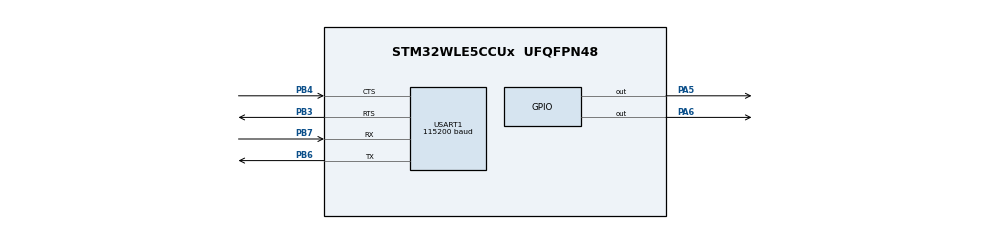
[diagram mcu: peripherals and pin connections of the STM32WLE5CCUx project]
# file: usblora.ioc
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FREERTOS.HEAP_NUMBER=1
FREERTOS.Queues01=SendLoraQueue,4,char *,0,Dynamic,NULL,NULL;SendUsbQueue,4,char *,0,Dynamic,NULL,NULL
FREERTOS.Tasks01=defaultTask,24,256,StartDefaultTask,Default,NULL,Dynamic,NULL,NULL;UsbTask,24,4096,StartUsbTask,Default,NULL,Dynamic,NULL,NULL;LoraTask,24,2048,StartLoraTask,Default,NULL,Dynamic,NULL,NULL
FREERTOS.configCHECK_FOR_STACK_OVERFLOW=1
FREERTOS.configTICK_RATE_HZ=1000
FREERTOS.configTOTAL_HEAP_SIZE=0x7000
FREERTOS.configUSE_APPLICATION_TASK_TAG=0
FREERTOS.configUSE_NEWLIB_REENTRANT=1
FREERTOS.configUSE_PREEMPTION=1
Mcu.Family=STM32WL
Mcu.Name=STM32WLE5CCUx
Mcu.Package=UFQFPN48
NVIC.HSEM_IRQn=true\:5\:0\:false\:false\:true\:true\:false\:true\:true
NVIC.PriorityGroup=NVIC_PRIORITYGROUP_4
NVIC.RCC_IRQn=true\:5\:0\:false\:false\:true\:true\:true\:false\:true
NVIC.SUBGHZ_Radio_IRQn=true\:5\:0\:false\:false\:true\:true\:true\:true\:true
NVIC.TIM1_UP_IRQn=true\:15\:0\:false\:false\:true\:false\:false\:true\:true
NVIC.TimeBase=TIM1_UP_IRQn
NVIC.TimeBaseIP=TIM1
NVIC.USART1_IRQn=true\:5\:0\:true\:false\:true\:true\:true\:true\:true
OSC_IN.Mode=HSE-External-Oscillator
OSC_IN.Signal=RCC_OSC_IN
OSC_OUT.Mode=HSE-External-Oscillator
OSC_OUT.Signal=RCC_OSC_OUT
PA5.Signal=GPIO_Output
PA6.Signal=GPIO_Output
PB3.Mode=CTS_RTS
PB3.Signal=USART1_RTS
PB4.Mode=CTS_RTS
PB4.Signal=USART1_CTS
PB6.Mode=Asynchronous
PB6.Signal=USART1_TX
PB7.Mode=Asynchronous
PB7.Signal=USART1_RX
ProjectManager.HeapSize=0x200
ProjectManager.StackSize=0x400
ProjectManager.TargetToolchain=STM32CubeIDE
RCC.AHBFreq_Value=48000000
RCC.APB1Freq_Value=48000000
RCC.APB1TimFreq_Value=48000000
RCC.APB2Freq_Value=48000000
RCC.APB2TimFreq_Value=48000000
RCC.APB3Freq_Value=48000000
RCC.CortexFreq_Value=48000000
RCC.FLatency=FLASH_LATENCY_2
RCC.HCLKFreq_Value=48000000
RCC.HSE_Timout=500
RCC.HSE_VALUE=32000000
RCC.HSI_VALUE=16000000
RCC.LSE_VALUE=32768
RCC.MSIClockRange=RCC_MSIRANGE_11
RCC.PLLSourceVirtual=RCC_PLLSOURCE_HSE
RCC.SYSCLKFreq_VALUE=48000000
RCC.VCOOutputFreq_Value=256000000
SUBGHZ.BaudratePrescaler=SUBGHZSPI_BAUDRATEPRESCALER_4
SUBGHZ_PHY.APP_LOG_ENABLED=false
SUBGHZ_PHY.IS_DCDC_SUPPORTED=false
SUBGHZ_PHY.SUBGHZ_APPLICATION=SUBGHZ_USER_APPLICATION
SUBGHZ_PHY.SUBGHZ_PHY_APP_MEM_POOL_SIZE=8192
SUBGHZ_PHY.TX_RFO_CONFIG=RBI_CONF_RFO_HP
USART1.BaudRate=115200
USART1.FIFOMode=FIFOMODE_ENABLE
USART1.Parity=PARITY_NONE
USART1.StopBits=STOPBITS_1
USART1.VirtualMode-Asynchronous=VM_ASYNC
VP_ADV_TRACE_VS_ADV_TRACE.Mode=ADV_TRACE_Enabled
VP_FREERTOS_VS_CMSIS_V2.Mode=CMSIS_V2
VP_HSEM_VS_HSEM.Mode=HSEM_Activate
VP_MISC_VS_MISC.Mode=MISC_Enabled
VP_SUBGHZ_PHY_VS_SubGhzPhy.Mode=SubGhzPhy_Enabled
VP_SUBGHZ_VS_SUBGHZ.Mode=SUBGHZ_Activate
VP_SYS_VS_tim1.Mode=TIM1
VP_TIMER_VS_TIMER.Mode=TIMER_Enabled
VP_TINY_LPM_VS_TINY_LPM.Mode=TINY_LPM_Enabled
board=custom

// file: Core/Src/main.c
/* USER CODE BEGIN Header */
/**
  ******************************************************************************
  * @file           : main.c
  * @brief          : Main program body
  ******************************************************************************
  * @attention
  *
  * Copyright (c) 2024 STMicroelectronics.
  * All rights reserved.
  *
  * This software is licensed under terms that can be found in the LICENSE file
  * in the root directory of this software component.
  * If no LICENSE file comes with this software, it is provided AS-IS.
  *
  ******************************************************************************
  */
/* USER CODE END Header */
#include "main.h"
#include "cmsis_os.h"
#include "app_subghz_phy.h"
#include "usart.h"
#include "gpio.h"

void SystemClock_Config(void);
void MX_FREERTOS_Init(void);

int main(void)
{

  /* MCU Configuration--------------------------------------------------------*/

  /* Reset of all peripherals, Initializes the Flash interface and the Systick. */
  HAL_Init();

  /* Configure the system clock */
  SystemClock_Config();

  /* Initialize all configured peripherals */
  MX_GPIO_Init();
  MX_USART1_UART_Init();

  /* Init scheduler */
  osKernelInitialize();

  /* Call init function for freertos objects (in cmsis_os2.c) */
  MX_FREERTOS_Init();

  /* Start scheduler */
  osKernelStart();

  /* We should never get here as control is now taken by the scheduler */

  /* Infinite loop */
  while (1)
  {

  }
}

void SystemClock_Config(void)
{
  RCC_OscInitTypeDef RCC_OscInitStruct = {0};
  RCC_ClkInitTypeDef RCC_ClkInitStruct = {0};

  /** Configure the main internal regulator output voltage
  */
  __HAL_PWR_VOLTAGESCALING_CONFIG(PWR_REGULATOR_VOLTAGE_SCALE1);

  /** Initializes the CPU, AHB and APB buses clocks
  */
  RCC_OscInitStruct.OscillatorType = RCC_OSCILLATORTYPE_MSI;
  RCC_OscInitStruct.MSIState = RCC_MSI_ON;
  RCC_OscInitStruct.MSICalibrationValue = RCC_MSICALIBRATION_DEFAULT;
  RCC_OscInitStruct.MSIClockRange = RCC_MSIRANGE_11;
  RCC_OscInitStruct.PLL.PLLState = RCC_PLL_NONE;
  if (HAL_RCC_OscConfig(&RCC_OscInitStruct) != HAL_OK)
  {
    Error_Handler();
  }

  /** Configure the SYSCLKSource, HCLK, PCLK1 and PCLK2 clocks dividers
  */
  RCC_ClkInitStruct.ClockType = RCC_CLOCKTYPE_HCLK3|RCC_CLOCKTYPE_HCLK
                              |RCC_CLOCKTYPE_SYSCLK|RCC_CLOCKTYPE_PCLK1
                              |RCC_CLOCKTYPE_PCLK2;
  RCC_ClkInitStruct.SYSCLKSource = RCC_SYSCLKSOURCE_MSI;
  RCC_ClkInitStruct.AHBCLKDivider = RCC_SYSCLK_DIV1;
  RCC_ClkInitStruct.APB1CLKDivider = RCC_HCLK_DIV1;
  RCC_ClkInitStruct.APB2CLKDivider = RCC_HCLK_DIV1;
  RCC_ClkInitStruct.AHBCLK3Divider = RCC_SYSCLK_DIV1;

  if (HAL_RCC_ClockConfig(&RCC_ClkInitStruct, FLASH_LATENCY_2) != HAL_OK)
  {
    Error_Handler();
  }
}

void HAL_TIM_PeriodElapsedCallback(TIM_HandleTypeDef *htim)
{
  if (htim->Instance == TIM1) {
    HAL_IncTick();
  }
}

void Error_Handler(void)
{
  __disable_irq();
  while (1)
  {
  }
}

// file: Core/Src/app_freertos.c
/* USER CODE BEGIN Header */
/**
  ******************************************************************************
  * File Name          : app_freertos.c
  * Description        : Code for freertos applications
  ******************************************************************************
  * @attention
  *
  * Copyright (c) 2024 STMicroelectronics.
  * All rights reserved.
  *
  * This software is licensed under terms that can be found in the LICENSE file
  * in the root directory of this software component.
  * If no LICENSE file comes with this software, it is provided AS-IS.
  *
  ******************************************************************************
  */
/* USER CODE END Header */

#include "FreeRTOS.h"
#include "task.h"
#include "main.h"
#include "cmsis_os.h"

#include "app_subghz_phy.h"

/* USER CODE BEGIN Includes */
#include "usart.h"
#include "string.h"
#include "stdlib.h"
#include "radio.h"
/* USER CODE END Includes */

/* Definitions for defaultTask */
osThreadId_t defaultTaskHandle;
const osThreadAttr_t defaultTask_attributes = {
  .name = "defaultTask",
  .priority = (osPriority_t) osPriorityNormal,
  .stack_size = 256 * 4
};
/* Definitions for UsbTask */
osThreadId_t UsbTaskHandle;
const osThreadAttr_t UsbTask_attributes = {
  .name = "UsbTask",
  .priority = (osPriority_t) osPriorityNormal,
  .stack_size = 4096 * 4
};
/* Definitions for LoraTask */
osThreadId_t LoraTaskHandle;
const osThreadAttr_t LoraTask_attributes = {
  .name = "LoraTask",
  .priority = (osPriority_t) osPriorityNormal,
  .stack_size = 2048 * 4
};
/* Definitions for SendLoraQueue */
osMessageQueueId_t SendLoraQueueHandle;
const osMessageQueueAttr_t SendLoraQueue_attributes = {
  .name = "SendLoraQueue"
};
/* Definitions for SendUsbQueue */
osMessageQueueId_t SendUsbQueueHandle;
const osMessageQueueAttr_t SendUsbQueue_attributes = {
  .name = "SendUsbQueue"
};

void StartDefaultTask(void *argument);
void StartUsbTask(void *argument);
void StartLoraTask(void *argument);

void MX_FREERTOS_Init(void); /* (MISRA C 2004 rule 8.1) */

/* Hook prototypes */
void vApplicationStackOverflowHook(xTaskHandle xTask, signed char *pcTaskName);

/* USER CODE BEGIN 4 */
void vApplicationStackOverflowHook(xTaskHandle xTask, signed char *pcTaskName)
{
   /* Run time stack overflow checking is performed if
   configCHECK_FOR_STACK_OVERFLOW is defined to 1 or 2. This hook function is
   called if a stack overflow is detected. */
}
/* USER CODE END 4 */

void MX_FREERTOS_Init(void) {

  /* Create the queue(s) */
  /* creation of SendLoraQueue */
  SendLoraQueueHandle = osMessageQueueNew (4, sizeof(char *), &SendLoraQueue_attributes);

  /* creation of SendUsbQueue */
  SendUsbQueueHandle = osMessageQueueNew (4, sizeof(char *), &SendUsbQueue_attributes);

  /* Create the thread(s) */
  /* creation of defaultTask */
  defaultTaskHandle = osThreadNew(StartDefaultTask, NULL, &defaultTask_attributes);

  /* creation of UsbTask */
  UsbTaskHandle = osThreadNew(StartUsbTask, NULL, &UsbTask_attributes);

  /* creation of LoraTask */
  LoraTaskHandle = osThreadNew(StartLoraTask, NULL, &LoraTask_attributes);

}

void StartDefaultTask(void *argument)
{
  /* init code for SubGHz_Phy */
  //MX_SubGHz_Phy_Init();
  for(;;)
  {
    osDelay(1);
  }
}

void StartUsbTask(void *argument)
{
  /* USER CODE BEGIN StartUsbTask */

	  uint8_t initializing_radio[] =
			  	  	  	  	  	  	  	  	  	  	  	  	  	  	  	  	  	  	  	  	  	"\n\r"
				"|------------------------------------------------------------------------------|\n\r"
				"| Initializing radio. Please, wait some seconds                                |\n\r"
				"|------------------------------------------------------------------------------|\n\r";
	  HAL_UART_Transmit(&huart1, initializing_radio, sizeof(initializing_radio), HAL_MAX_DELAY);
      MX_SubGHz_Phy_Init();
	  osDelay(100);
	  uint8_t radio_is_init[] =
				"|------------------------------------------------------------------------------|\n\r"
				"| Radio is initialized                                                         |\n\r"
				"|------------------------------------------------------------------------------|\n\r";
	  HAL_UART_Transmit(&huart1, radio_is_init, sizeof(radio_is_init), HAL_MAX_DELAY);

	  uint8_t input_buffer[512];

	  uint8_t help_menu[] =	  	  	  	  	  	  	  	  	  	  	  	  	  	  	  	  	  "\n\r"
			  "|------------------------------------------------------------------------------|\n\r"
			  "|  ╔╗╔╗╔══╗╔╗  ╔═══╗╔╗ ╔╗╔══╗╔╗╔══╗╔╗╔══╗╔══╗  ╔╗╔╗╔══╗╔══╗ ╔╗  ╔══╗╔═══╗╔══╗  |\n\r"
			  "|  ║║║║║╔╗║║║  ║╔══╝║╚═╝║║╔╗║║║║╔═╝║║║╔═╝║╔═╝  ║║║║║╔═╝║╔╗║ ║║  ║╔╗║║╔═╗║║╔╗║  |\n\r"
			  "|  ║║║║║╚╝║║║  ║╚══╗║╔╗ ║║║║║║╚╝║  ║╚╝║  ║╚═╗  ║║║║║╚═╗║╚╝╚╗║║  ║║║║║╚═╝║║╚╝║  |\n\r"
			  "|  ║╚╝║║╔╗║║║  ║╔══╝║║╚╗║║║║║║╔╗║  ║╔╗║  ╚═╗║  ║║║║╚═╗║║╔═╗║║║  ║║║║║╔╗╔╝║╔╗║  |\n\r"
			  "|  ╚╗╔╝║║║║║╚═╗║╚══╗║║ ║║║╚╝║║║║╚═╗║║║╚═╗╔═╝║  ║╚╝║╔═╝║║╚═╝║║╚═╗║╚╝║║║║║ ║║║║  |\n\r"
			  "|   ╚╝ ╚╝╚╝╚══╝╚═══╝╚╝ ╚╝╚══╝╚╝╚══╝╚╝╚══╝╚══╝  ╚══╝╚══╝╚═══╝╚══╝╚══╝╚╝╚╝ ╚╝╚╝  |\n\r"
			  "|------------------------------------------------------------------------------|\n\r"
	  	  	  "| Radio default parameters:                                                    |\n\r"
	  	  	  "|    SF = 10                                                                   |\n\r"
	  	  	  "|    CR = 4/8                                                                  |\n\r"
	  	  	  "|    Bandwidth = 250k                                                          |\n\r"
	  	  	  "|    Preamble length (on sending) = 64                                         |\n\r"
	  	  	  "|    Preamble length (on receiving) = 8                                        |\n\r"
			  "|    CRC on                                                                    |\n\r"
			  "|    Explicit header                                                           |\n\r"
			  "|------------------------------------------------------------------------------|\n\r"
	  	  	  "| You can use these commands:                                                  |\n\r"
			  "|    @send {data with size < 256} - to send smth over LoRa                     |\n\r"
			  "|    @help - to call this menu                                                 |\n\r"
			  "|    @config terminal echo {true/false} - set uart echo for input              |\n\r"
			  "|    @config rf x x x - set RF modulation parameters                           |\n\r"
			  "|               | | |                                                          |\n\r"
			  "|               | | +---- coderate: {1: 4/5, 2: 4/6, 3: 4/7, 4: 4/8}           |\n\r"
			  "|               | +------ SF: {6: 64, 7: 128, 8: 256, 9: 512,                  |\n\r"
              "|               |              10: 1024, 11: 2048, 12: 4096  chips}            |\n\r"
              "|               +-------- bandwidth: {0: 125 kHz, 1: 250 kHz,  2: 500 kHz}     |\n\r"
			  "|    ctrl+C or ctrl+Z - for undo                                               |\n\r"
			  "|------------------------------------------------------------------------------|\n\r"
	  	  	  "| When LoRa receives data it will be written to this terminal                  |\n\r"
			  "|------------------------------------------------------------------------------|\n\r";
	  uint8_t new_line[] =
			  "\n\r@";
	  uint8_t error_parse[] =
			  "\n\r#cannot parse your command";
	  uint8_t error_send[] =
			  "\n\r#cannot send text, maybe memory errors";
	  uint8_t command_send[] =
			  "send ";
	  uint8_t command_help[] =
			  "help";
	  uint8_t config_rf[] =
			  "config rf ";
	  uint8_t config_rf_success[] =
			  "\n\r@!RF modulation parameters are changed";
	  uint8_t config_terminal_echo[] =
			  "config terminal echo ";
	  uint8_t true_str[] =
			  "true";
	  uint8_t false_str[] =
			  "false";
	  bool echo = true;
	  HAL_UART_Transmit(&huart1, help_menu, sizeof(help_menu), HAL_MAX_DELAY);
	  /* Infinite loop */
	  for(;;)
	  {
		HAL_UART_Transmit(&huart1, new_line, sizeof(new_line), HAL_MAX_DELAY);
		for (int i = 0; i < sizeof(input_buffer); ++i) {
			HAL_UART_Receive(&huart1, input_buffer + i, 1, HAL_MAX_DELAY);
			if (echo) {
				if (input_buffer[i] != '\x7f' || i > 0) {
					HAL_UART_Transmit(&huart1, input_buffer + i, 1, HAL_MAX_DELAY);
				}
			}
			if (input_buffer[i] == '\x7f') {
				if (i == 0) {
					i -= 1;
				} else {
					i -= 2;
				}
			}
			else if (input_buffer[i] == '\n' || input_buffer[i] == '\r') {

				input_buffer[i] = '\0';
				if (i == 0) {
					// do nothing
				}
				else if (!strncmp((char*)input_buffer, (char*)command_help, sizeof(command_help) - 1))
				{
					  HAL_UART_Transmit(&huart1, help_menu, sizeof(help_menu), HAL_MAX_DELAY);
				}
				else if (i > strlen((char*)command_send) && !strncmp((char*)input_buffer, (char*)command_send, sizeof(command_send) - 1)) {
					char *malloc_buffer = malloc(strlen(input_buffer) - (sizeof(command_send) - 1));
					if(!malloc_buffer) {
						break;
					}
					strncpy(malloc_buffer, input_buffer + sizeof(command_send) - 1, 256);
					if (osMessageQueuePut(SendLoraQueueHandle, &malloc_buffer, NULL, osWaitForever)){
						free(malloc_buffer);
						HAL_UART_Transmit(&huart1, error_send, sizeof(error_send), HAL_MAX_DELAY);
					}
				}
				else if (i > strlen((char*)config_rf) && !strncmp((char*)input_buffer, (char*)config_rf, sizeof(config_rf) - 1)) {
					char *str = input_buffer + (sizeof(config_rf) - 1);
					char *str_saveptr = NULL;

					char *str_bandwidth = strtok_r(str, " ", &str_saveptr);
					char *str_SF = strtok_r(NULL, " ", &str_saveptr);
					char *str_coderate = strtok_r(NULL, " ", &str_saveptr);

					if (!str_bandwidth || !str_SF || !str_coderate) {
						HAL_UART_Transmit(&huart1, error_parse, sizeof(error_parse), HAL_MAX_DELAY);
						break;
					}

					int bandwidth = atoi(str_bandwidth);
					int SF = atoi(str_SF);
					int coderate = atoi(str_coderate);

					if ((bandwidth < 0) || (bandwidth > 2) ||
						(SF < 6) || (SF > 12) ||
						(coderate < 1) || (coderate > 4)) {
						HAL_UART_Transmit(&huart1, error_parse, sizeof(error_parse), HAL_MAX_DELAY);
						break;
					}
					Radio.SetRxConfig(
					  		  MODEM_LORA,
					  		  bandwidth,
					  		  SF,
					  		  coderate,
					  		  0,
					  		  8,
					  		  0,
					  		  0,
					  		  12,
					  		  1,
					  		  0,
					  		  0,
					  		  0,
					  		  true);
					    Radio.SetTxConfig(
					    	  MODEM_LORA,
					    	  10,
					  		  0,
					  		  bandwidth,
					  		  SF,
					  		  coderate,
					  		  64,
					  		  0,
					  		  1,
					  		  0,
					  		  0,
					  		  0,
					  		  0);
					HAL_UART_Transmit(&huart1, config_rf_success, sizeof(config_rf_success), HAL_MAX_DELAY);
					break;

				}
				else if (i > strlen((char*)config_terminal_echo) && !strncmp((char*)input_buffer, (char*)config_terminal_echo, sizeof(config_terminal_echo) - 1)) {
					if (!strncmp((char*)input_buffer + (sizeof(config_terminal_echo) - 1), (char*)true_str, sizeof(true_str) - 1)) {
						echo = true;
					} else if (!strncmp((char*)input_buffer + (sizeof(config_terminal_echo) - 1), (char*)false_str, sizeof(false_str) - 1)) {
						echo = false;
					} else {
						HAL_UART_Transmit(&huart1, error_parse, sizeof(error_parse), HAL_MAX_DELAY);
						break;
					}
				}
				else {
					HAL_UART_Transmit(&huart1, error_parse, sizeof(error_parse), HAL_MAX_DELAY);
					break;
				}
				break;
			} else if (input_buffer[i] == '\x03' || input_buffer[i] == '\x1A') {
				break;
			}
		}
	  }
  /* USER CODE END StartUsbTask */
}

void StartLoraTask(void *argument)
{
  /* USER CODE BEGIN StartLoraTask */
  /* Infinite loop */
  //MX_SubGHz_Phy_Init();

  char formatter[500];
  char *input_buffer = NULL;
	  for(;;)
	  {
		  if(!osMessageQueueGet(SendLoraQueueHandle, &input_buffer, NULL, 1000)){
			  if (Radio.Send(input_buffer, strlen(input_buffer)) != RADIO_STATUS_OK) {
				  HAL_UART_Transmit(&huart1, "!unsent\n\r@", sizeof("!unsent\n\r@"), HAL_MAX_DELAY);
			  }
			  free(input_buffer);
		  }
	  }
  /* USER CODE END StartLoraTask */
}
